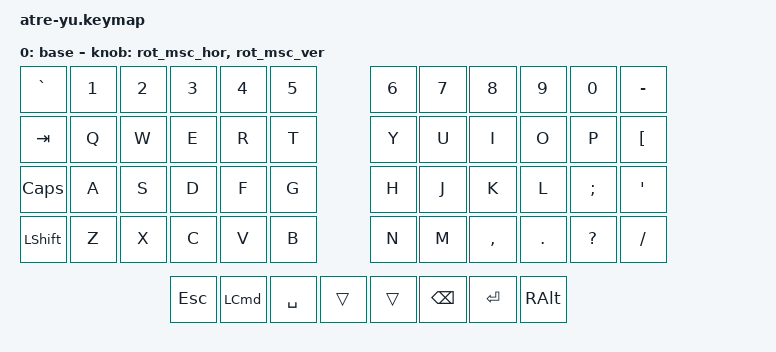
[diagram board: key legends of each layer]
#include <behaviors.dtsi>
#include <dt-bindings/zmk/keys.h>
#include <dt-bindings/zmk/bt.h>
#include <dt-bindings/zmk/mouse.h>
#define ZMK_POINTING_DEFAULT_SCRL_VAL 50
#include <dt-bindings/zmk/pointing.h>

/ {
    behaviors {
        rot_kp: sensor_rotate_kp {
            compatible = "zmk,behavior-sensor-rotate-var";
            #sensor-binding-cells = <2>;
            bindings = <&kp>, <&kp>;
        };
        rot_msc_hor: sensor_rotate_msc_hor {
            compatible = "zmk,behavior-sensor-rotate";
            #sensor-binding-cells = <0>;
            bindings = <&msc SCRL_LEFT>, <&msc SCRL_RIGHT>;
            tap-ms = <50>;
        };
        rot_msc_ver: sensor_rotate_msc_ver {
            compatible = "zmk,behavior-sensor-rotate";
            #sensor-binding-cells = <0>;
            bindings = <&msc SCRL_UP>, <&msc SCRL_DOWN>;
            tap-ms = <50>;
        };
    };

    keymap {
        compatible = "zmk,keymap";
        base {
            bindings = <
                &kp GRAVE  &kp N1     &kp N2     &kp N3     &kp N4     &kp N5        &kp N6    &kp N7     &kp N8     &kp N9    &kp N0     &kp MINUS
                &kp TAB    &kp Q      &kp W      &kp E      &kp R      &kp T         &kp Y     &kp U      &kp I      &kp O     &kp P      &kp LBKT
                &kp CAPS   &kp A      &kp S      &kp D      &kp F      &kp G         &kp H     &kp J      &kp K      &kp L     &kp SEMI   &kp APOS
                &kp LSHFT  &kp Z      &kp X      &kp C      &kp V      &kp B         &kp N     &kp M      &kp COMMA  &kp DOT   &kp QMARK  &kp FSLH
                                      &kp ESC    &kp LCMD   &kp SPACE  &trans        &trans    &kp BSPC   &kp RET    &kp RALT
            >;

            sensor-bindings = <&rot_msc_hor &rot_msc_ver>;
        };
    };
};
